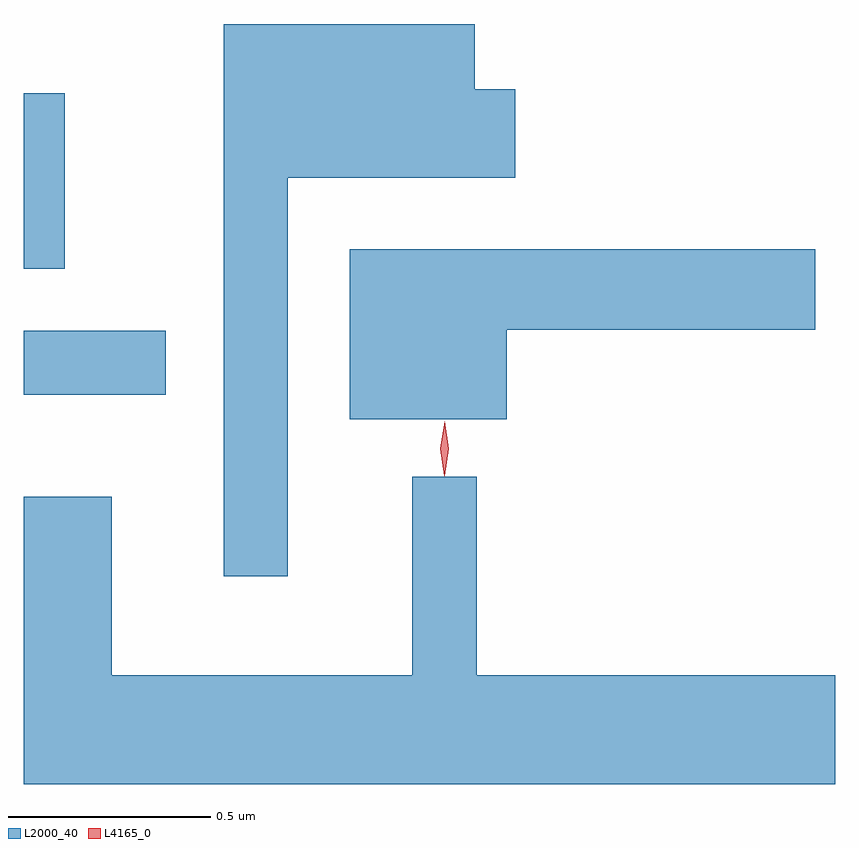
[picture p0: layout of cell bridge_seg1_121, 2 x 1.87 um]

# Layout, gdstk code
import gdstk
lib = gdstk.Library(unit=1e-6, precision=1e-09)
def R(c, l, rs):  # rectangles x0, y0, x1, y1
    for r in rs: c.add(gdstk.rectangle(r[:2], r[2:], *l))
def P(c, l, *ps):  # polygons
    for p in ps: c.add(gdstk.Polygon(p, *l))
L2000_40 = (2000, 40)
L4165_0 = (4165, 0)

bridge_seg1_121 = lib.new_cell('bridge_seg1_121')
R(bridge_seg1_121, L2000_40, [(1430.503,856.136,1430.853,856.294), (1430.503,856.446,1430.604,856.879)])
P(bridge_seg1_121, L2000_40, [(1431.154,856.671),(1431.714,856.671),(1431.714,856.889),(1431.614,856.889),(1431.614,857.05),(1430.996,857.05),(1430.996,855.688),(1431.154,855.688)],
  [(1431.694,856.296),(1432.454,856.296),(1432.454,856.494),(1431.306,856.494),(1431.306,856.076),(1431.694,856.076)],
  [(1432.503,855.444),(1431.619,855.444),(1431.619,855.933),(1431.461,855.933),(1431.461,855.444),(1430.719,855.444),(1430.719,855.884),(1430.503,855.884),(1430.503,855.176),(1432.503,855.176)])
P(bridge_seg1_121, L4165_0, [(1431.54,855.935),(1431.539,855.936),(1431.53,856.003),(1431.54,856.07),(1431.54,856.071),(1431.541,856.07),(1431.55,856.003),(1431.54,855.936)])

lib.write_gds('bridge_seg1_121.gds')
